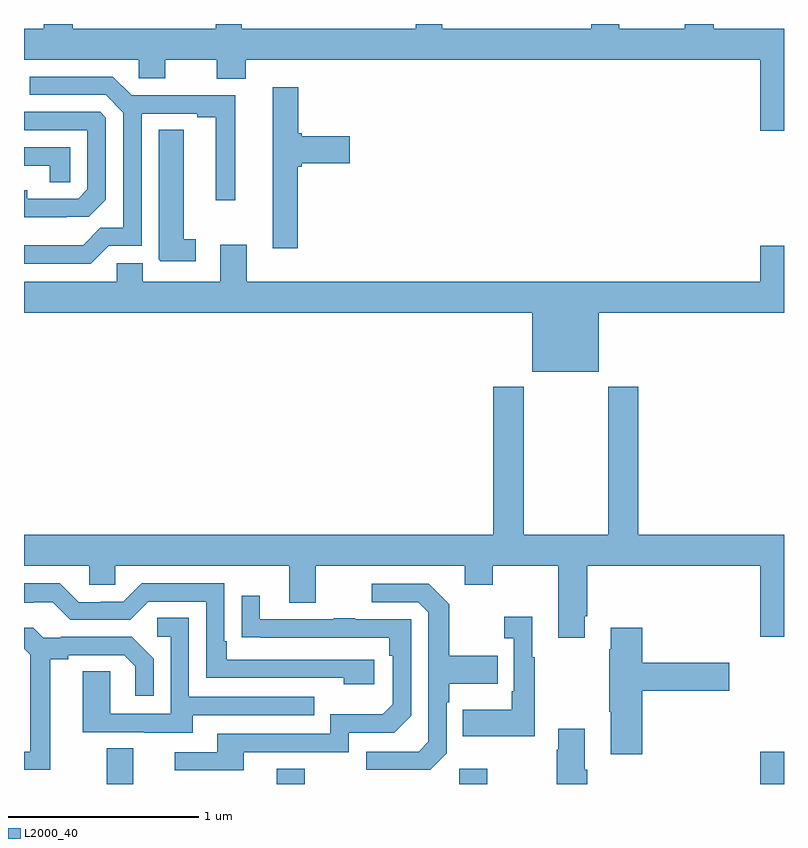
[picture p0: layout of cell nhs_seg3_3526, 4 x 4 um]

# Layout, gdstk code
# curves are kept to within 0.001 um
import gdstk
lib = gdstk.Library(unit=1e-6, precision=1e-09)
def R(c, l, rs):  # rectangles x0, y0, x1, y1
    for r in rs: c.add(gdstk.rectangle(r[:2], r[2:], *l))
def P(c, l, *ps):  # polygons
    for p in ps: c.add(gdstk.Polygon(p, *l))
L2000_40 = (2000, 40)

nhs_seg3_3526 = lib.new_cell('nhs_seg3_3526')
R(nhs_seg3_3526, L2000_40, [(293.435,734.4,293.575,734.588), (294.329,734.4,294.477,734.479), (295.29,734.4,295.437,734.479), (296.876,734.4,297,734.569)])
P(nhs_seg3_3526, L2000_40, [(297,738.376),(296.63,738.376),(296.63,738.4),(296.477,738.4),(296.477,738.376),(296.133,738.376),(296.133,738.4),(295.985,738.4),(295.985,738.376),(295.201,738.376),(295.201,738.4),(295.061,738.4),(295.061,738.376),(294.147,738.376),(294.147,738.4),(294.009,738.4),(294.009,738.376),(293.257,738.376),(293.257,738.4),(293.105,738.4),(293.105,738.376),(293,738.376),(293,738.212),(293.604,738.212),(293.604,738.114),(293.743,738.114),(293.743,738.212),(294.014,738.212),(294.014,738.113),(294.167,738.113),(294.167,738.212),(296.876,738.212),(296.876,737.838),(297,737.838)],
  [(293.445,737.232),(293.619,737.232),(293.619,737.928),(293.912,737.928),(293.912,737.908),(294.008,737.908),(294.008,737.472),(294.112,737.472),(294.112,738.024),(293.566,738.024),(293.467,738.123),(293.031,738.123),(293.031,738.027),(293.43,738.027),(293.523,737.934),(293.523,737.327),(293.402,737.327),(293.311,737.236),(293,737.236),(293,737.139),(293.352,737.139)],
  [(294.44,737.648),(294.462,737.648),(294.462,737.666),(294.715,737.666),(294.715,737.808),(294.462,737.808),(294.462,737.826),(294.443,737.826),(294.443,738.067),(294.308,738.067),(294.308,737.22),(294.44,737.22)],
  [(293.225,737.386),(293.341,737.386),(293.43,737.475),(293.43,737.907),(293.4,737.937),(293,737.937),(293,737.841),(293.334,737.841),(293.334,737.529),(293.286,737.481),(293.017,737.481),(293.017,737.524),(293,737.524),(293,737.384),(293.225,737.384)],
  [(293.905,737.267),(293.842,737.267),(293.842,737.843),(293.708,737.843),(293.708,737.161),(293.718,737.151),(293.905,737.151)],
  [(293.244,737.751),(293,737.751),(293,737.654),(293.136,737.654),(293.136,737.566),(293.244,737.566)],
  [(296.026,736.88),(297,736.88),(297,737.233),(296.876,737.233),(296.876,737.044),(294.172,737.044),(294.172,737.239),(294.032,737.239),(294.032,737.044),(293.626,737.044),(293.626,737.142),(293.487,737.142),(293.487,737.044),(293,737.044),(293,736.88),(295.676,736.88),(295.676,736.571),(296.026,736.571)],
  [(295.951,735.283),(295.964,735.283),(295.964,735.548),(296.876,735.548),(296.876,735.174),(297,735.174),(297,735.712),(296.234,735.712),(296.234,736.492),(296.074,736.492),(296.074,735.712),(295.629,735.712),(295.629,736.492),(295.469,736.492),(295.469,735.712),(293,735.712),(293,735.548),(293.343,735.548),(293.343,735.45),(293.481,735.45),(293.481,735.548),(294.395,735.548),(294.395,735.354),(294.535,735.354),(294.535,735.548),(295.319,735.548),(295.319,735.449),(295.467,735.449),(295.467,735.548),(295.811,735.548),(295.811,735.171),(295.951,735.171)],
  [(294.844,735.054),(294.067,735.054),(294.067,735.151),(294.054,735.151),(294.054,735.456),(293.619,735.456),(293.523,735.36),(293.405,735.36),(293.405,735.357),(293.289,735.357),(293.189,735.457),(293,735.457),(293,735.353),(293.051,735.353),(293.051,735.357),(293.151,735.357),(293.244,735.264),(293.559,735.264),(293.655,735.36),(293.958,735.36),(293.958,734.958),(294.683,734.958),(294.683,734.924),(294.844,734.924)],
  [(295.224,734.562),(295.224,734.831),(295.237,734.831),(295.237,734.927),(295.493,734.927),(295.493,735.075),(295.237,735.075),(295.237,735.347),(295.131,735.453),(294.831,735.453),(294.831,735.357),(295.074,735.357),(295.128,735.303),(295.128,734.622),(295.077,734.571),(294.801,734.571),(294.801,734.475),(295.137,734.475)],
  [(294.157,734.568),(294.708,734.568),(294.708,734.67),(294.948,734.67),(295.038,734.76),(295.038,735.267),(294.743,735.267),(294.743,735.272),(294.631,735.272),(294.631,735.267),(294.241,735.267),(294.241,735.391),(294.145,735.391),(294.145,735.172),(294.922,735.171),(294.922,735.074),(294.942,735.074),(294.942,734.82),(294.889,734.767),(294.612,734.767),(294.612,734.664),(294.017,734.664),(294.017,734.568),(293.793,734.568),(293.793,734.472),(294.157,734.472)],
  [(295.687,735.067),(295.675,735.067),(295.675,735.28),(295.527,735.28),(295.527,735.167),(295.578,735.167),(295.578,734.887),(295.566,734.887),(295.566,734.791),(295.309,734.791),(295.309,734.651),(295.687,734.651)],
  [(293.887,734.763),(294.527,734.763),(294.527,734.859),(293.868,734.859),(293.868,735.275),(293.7,735.275),(293.7,735.174),(293.772,735.174),(293.772,734.769),(293.454,734.769),(293.454,734.993),(293.309,734.993),(293.309,734.673),(293.633,734.673),(293.633,734.669),(293.887,734.669)],
  [(296.255,734.891),(296.713,734.891),(296.713,735.038),(296.255,735.038),(296.255,735.223),(296.087,735.223),(296.087,735.11),(296.08,735.11),(296.08,734.779),(296.087,734.779),(296.087,734.556),(296.255,734.556)],
  [(293.137,735.056),(293.233,735.056),(293.233,735.078),(293.528,735.078),(293.585,735.021),(293.585,734.865),(293.682,734.865),(293.682,735.058),(293.566,735.174),(293.194,735.174),(293.194,735.171),(293.1,735.171),(293.048,735.223),(293,735.223),(293,735.112),(293.033,735.079),(293.033,734.571),(293,734.571),(293,734.475),(293.137,734.475)],
  [(295.964,734.476),(295.951,734.476),(295.951,734.692),(295.811,734.692),(295.811,734.579),(295.804,734.579),(295.804,734.4),(295.964,734.4)])

lib.write_gds('nhs_seg3_3526.gds')
